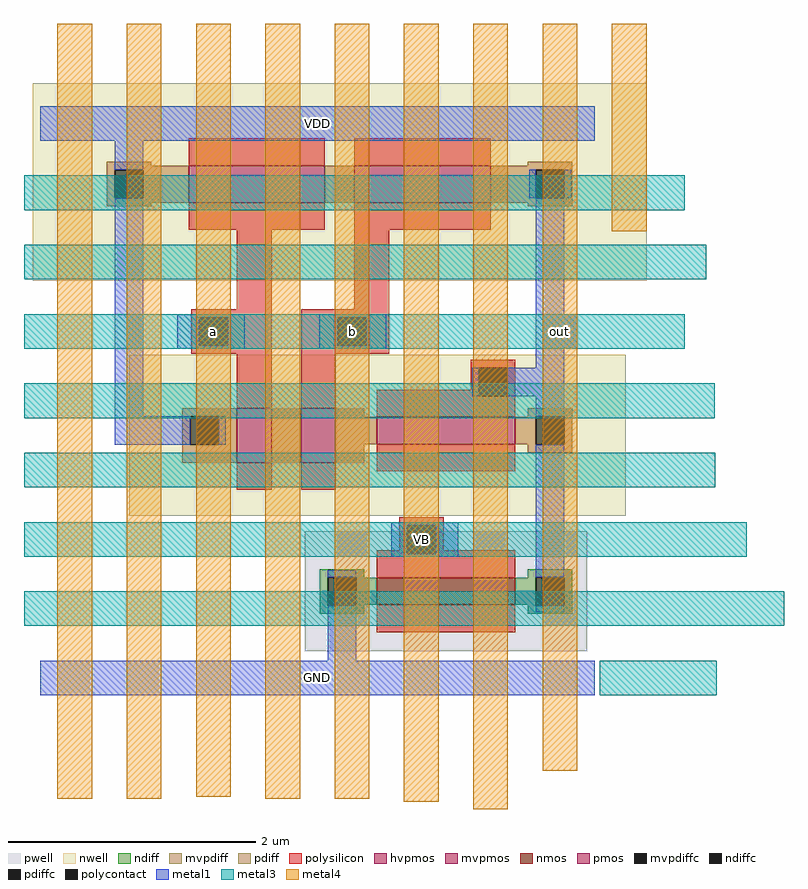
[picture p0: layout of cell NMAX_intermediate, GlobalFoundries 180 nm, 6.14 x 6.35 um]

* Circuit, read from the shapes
.subckt NMAX_intermediate a b out VB VDD GND
XM1 out VB GND VSUBS nfet_03v3 w=0.22u l=1.12u
XM2 n1 a VDD n2 pfet_06v0 w=0.3u l=1.1u
XM3 n3 a VDD n4 pfet_03v3 w=0.44u l=0.28u
XM4 n5 b n3 n4 pfet_03v3 w=0.44u l=0.28u
XM5 out b n1 n2 pfet_06v0 w=0.3u l=1.1u
XM6 out out n5 n4 pfet_03v3 w=0.22u l=1.12u
.ends

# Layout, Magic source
magic
tech gf180mcuC
magscale 1 10
<< nwell >>
rect 2878 257 3870 576
rect 3034 -123 3836 137
<< pwell >>
rect 3318 -342 3774 -148
<< nmos >>
rect 3434 -267 3658 -223
<< pmos >>
rect 3208 -37 3264 51
rect 3312 -37 3368 51
rect 3434 -7 3658 37
<< mvpmos >>
rect 3130 383 3350 443
<< hvpmos >>
rect 3398 383 3618 443
<< ndiff >>
rect 3342 -222 3414 -209
rect 3342 -268 3355 -222
rect 3401 -223 3414 -222
rect 3678 -222 3750 -209
rect 3678 -223 3691 -222
rect 3401 -267 3434 -223
rect 3658 -267 3691 -223
rect 3401 -268 3414 -267
rect 3342 -281 3414 -268
rect 3678 -268 3691 -267
rect 3737 -268 3750 -222
rect 3678 -281 3750 -268
<< pdiff >>
rect 3120 38 3208 51
rect 3120 -8 3133 38
rect 3179 -8 3208 38
rect 3120 -37 3208 -8
rect 3264 -37 3312 51
rect 3368 37 3414 51
rect 3678 38 3750 51
rect 3678 37 3691 38
rect 3368 -7 3434 37
rect 3658 -7 3691 37
rect 3368 -37 3414 -7
rect 3678 -8 3691 -7
rect 3737 -8 3750 38
rect 3678 -21 3750 -8
<< mvpdiff >>
rect 2998 443 3070 449
rect 3678 443 3750 449
rect 2998 436 3130 443
rect 2998 390 3011 436
rect 3057 390 3130 436
rect 2998 383 3130 390
rect 3350 383 3398 443
rect 3618 436 3750 443
rect 3618 390 3691 436
rect 3737 390 3750 436
rect 3618 383 3750 390
rect 2998 377 3070 383
rect 3678 377 3750 383
<< ndiffc >>
rect 3355 -268 3401 -222
rect 3691 -268 3737 -222
<< pdiffc >>
rect 3133 -8 3179 38
rect 3691 -8 3737 38
<< mvpdiffc >>
rect 3011 390 3057 436
rect 3691 390 3737 436
<< polysilicon >>
rect 3130 443 3350 487
rect 3398 443 3618 487
rect 3130 339 3350 383
rect 3398 339 3618 383
rect 3208 211 3264 339
rect 3398 211 3454 339
rect 3134 198 3264 211
rect 3134 152 3147 198
rect 3193 152 3264 198
rect 3134 139 3264 152
rect 3208 51 3264 139
rect 3312 198 3454 211
rect 3312 152 3371 198
rect 3417 152 3454 198
rect 3312 139 3454 152
rect 3312 51 3368 139
rect 3586 116 3658 129
rect 3586 81 3599 116
rect 3434 70 3599 81
rect 3645 70 3658 116
rect 3434 37 3658 70
rect 3208 -81 3264 -37
rect 3312 -81 3368 -37
rect 3434 -51 3658 -7
rect 3470 -138 3542 -125
rect 3470 -179 3483 -138
rect 3434 -184 3483 -179
rect 3529 -179 3542 -138
rect 3529 -184 3658 -179
rect 3434 -223 3658 -184
rect 3434 -311 3658 -267
<< polycontact >>
rect 3147 152 3193 198
rect 3371 152 3417 198
rect 3599 70 3645 116
rect 3483 -184 3529 -138
<< metal1 >>
rect 2890 483 3786 539
rect 3011 436 3057 483
rect 3680 390 3691 436
rect 3737 390 3748 436
rect 3011 38 3057 390
rect 3691 203 3737 390
rect 3112 198 3221 203
rect 3112 152 3147 198
rect 3193 152 3221 198
rect 3112 147 3221 152
rect 3341 198 3449 203
rect 3341 152 3371 198
rect 3417 152 3449 198
rect 3341 147 3449 152
rect 3691 147 3758 203
rect 3691 116 3737 147
rect 3588 70 3599 116
rect 3645 70 3737 116
rect 3691 38 3737 70
rect 3011 -8 3133 38
rect 3179 -8 3190 38
rect 3457 -138 3566 -133
rect 3457 -184 3483 -138
rect 3529 -184 3566 -138
rect 3457 -189 3566 -184
rect 3355 -222 3401 -211
rect 3355 -357 3401 -268
rect 3691 -222 3737 -8
rect 3691 -279 3737 -268
rect 2890 -413 3786 -357
<< metal3 >>
rect 2864 371 3932 427
rect 2864 259 3966 315
rect 2864 147 3932 203
rect 2864 35 3980 91
rect 2864 -77 3981 -21
rect 2864 -189 4032 -133
rect 2864 -301 4092 -245
rect 3794 -413 3983 -357
<< metal4 >>
rect 2918 -580 2974 672
rect 3030 -580 3086 672
rect 3142 -577 3198 672
rect 3254 -580 3310 672
rect 3366 -580 3422 672
rect 3478 -585 3534 672
rect 3590 -597 3646 672
rect 3702 -535 3758 672
rect 3814 337 3870 672
<< labels >>
rlabel metal1 3142 147 3198 203 0 a
port 1 nsew
rlabel metal1 3366 147 3422 203 0 b
port 2 nsew
rlabel metal1 3702 147 3758 203 0 out
port 3 nsew
rlabel metal1 3478 -189 3534 -133 0 VB
port 4 nsew
rlabel metal1 2890 483 3786 539 0 VDD
port 5 nsew
rlabel metal1 2890 -413 3786 -357 0 GND
port 6 nsew
<< end >>
